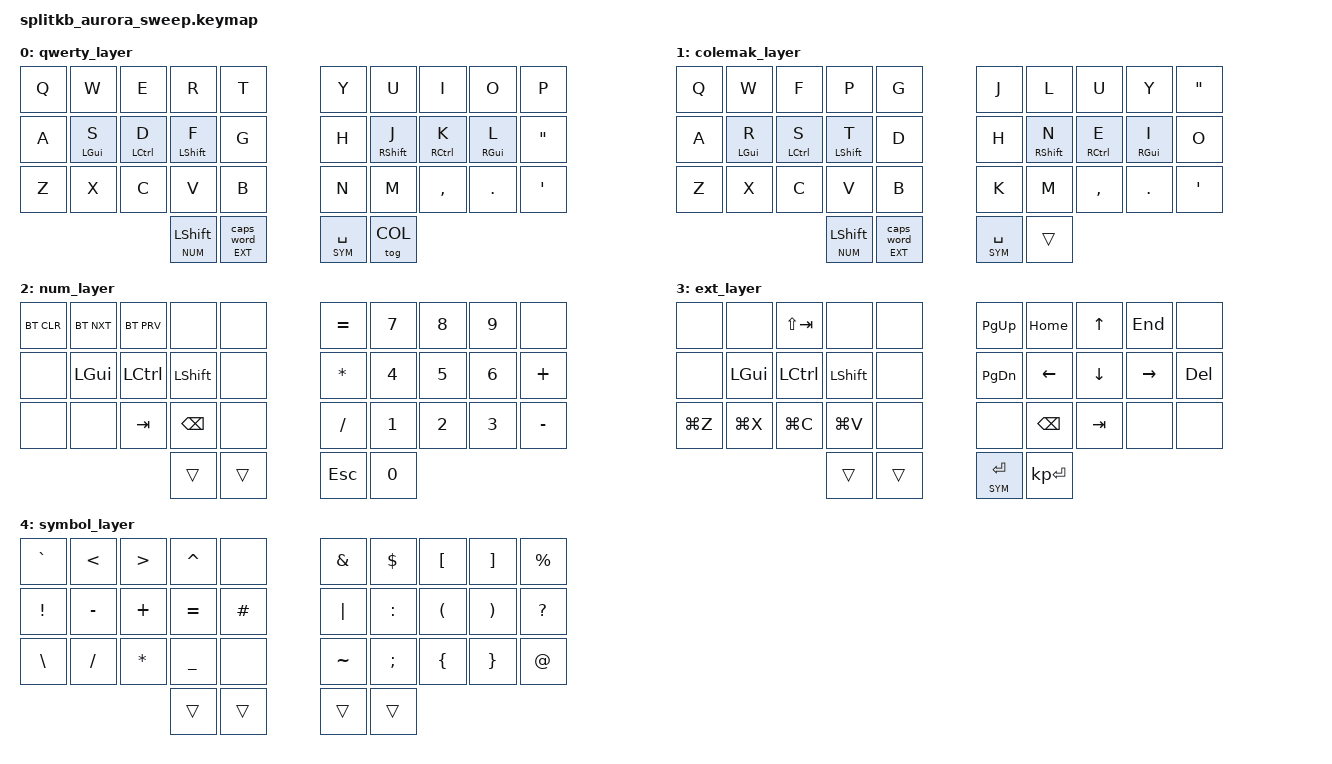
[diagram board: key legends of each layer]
/*
 * Copyright (c) 2022 The ZMK Contributors
 *
 * SPDX-License-Identifier: MIT
 */

#include <behaviors.dtsi>
#include <dt-bindings/zmk/keys.h>
#include <dt-bindings/zmk/bt.h>

#include "./keypos_34keys.h"
#include "./base.keymap"

#define XXX &none
#define ___ &trans

#define QWERTY 0
// #define HD   1
#define COL  1
#define NUM  2
#define EXT  3
#define SYM  4


#define SHIFTED_BEHAVIOR(name, unshifted, shifted) \
        name: name { \
            compatible = "zmk,behavior-mod-morph"; \
            #binding-cells = <0>; \
            label = #name; \
            bindings = <&kp unshifted>, <&kp shifted>; \
            mods = <(MOD_LSFT|MOD_RSFT)>; \
        };

#define HOME_ROW_MOD(name, trigger_key_positions) \
        name: name { \
            compatible = "zmk,behavior-hold-tap"; \
            #binding-cells = <2>; \
            flavor = "balanced"; \
            tapping-term-ms = <280>; \
            require-prior-idle-ms = <50>; \
            bindings = <&kp>, <&kp>; \
            hold-trigger-on-release; \
            hold-trigger-key-positions = <trigger_key_positions>; \
        };

/ {

    behaviors {
        SHIFTED_BEHAVIOR(hashAt,    HASH,  AT)
        SHIFTED_BEHAVIOR(dotCol,    DOT,   COLON)
        SHIFTED_BEHAVIOR(slashStar, SLASH, STAR)
        SHIFTED_BEHAVIOR(dquotBang, DQT,   EXCL)
        SHIFTED_BEHAVIOR(squotHuh,  SQT,   QMARK)
        SHIFTED_BEHAVIOR(cmmaSemi,  CMMA,  SEMI)
        SHIFTED_BEHAVIOR(minPlus,   MINUS, PLUS)

        HOME_ROW_MOD(hml, KEYS_R THUMBS)
        HOME_ROW_MOD(hmr, KEYS_L THUMBS)

        lt_cw: layer_tap_caps_word {
            compatible = "zmk,behavior-hold-tap";
            #binding-cells = <2>;
            label = "LAYER_TAP_CAPS_WORD";
            bindings = <&mo>, <&caps_word>;
            flavor = "balanced";
            tapping-term-ms = <200>;
            require-prior-idle-ms = <50>;
        };

        lt_sk: layer_tap_sticky_key {
            compatible = "zmk,behavior-hold-tap";
            #binding-cells = <2>;
            label = "LAYER_TAP_STICKY_KEY";
            bindings = <&mo>, <&sk>;
            flavor = "balanced";
            tapping-term-ms = <200>;
            require-prior-idle-ms = <50>;
        };
    };

    combos {
        compatible = "zmk,combos";
        combo_z {
            timeout-ms = <50>;
            key-positions = <LT4 LT3>;
            bindings = <&kp Z>;
        };

        combo_q {
            timeout-ms = <50>;
            key-positions = <LT4 LT2>;
            bindings = <&kp Q>;
        };

        combo_bootloader_left {
            timeout-ms = <50>;
            key-positions = <LT3 LM3 LB3>;
            bindings = <&bootloader>;
        };

        combo_bootloader_right {
            timeout-ms = <50>;
            key-positions = <RT3 RM3 RB3>;
            bindings = <&bootloader>;
        };

        combo_reset_left {
            timeout-ms = <50>;
            key-positions = <LT4 LM4 LB4>;
            bindings = <&sys_reset>;
        };

        combo_reset_right {
            timeout-ms = <50>;
            key-positions = <RT4 RM4 RB4>;
            bindings = <&sys_reset>;
        };
    };

    keymap {
        compatible = "zmk,keymap";

        qwerty_layer {
        bindings = <
        //╭──────────┬──────────┬──────────┬──────────┬──────────╮   ╭──────────┬──────────┬──────────┬──────────┬──────────╮
             &kp Q      &kp W      &kp E      &kp R      &kp T          &kp Y      &kp U      &kp I      &kp O      &kp P
        //├──────────┼──────────┼──────────┼──────────┼──────────┤   ├──────────┼──────────┼──────────┼──────────┼──────────┤
             &kp A   &hml LGUI S &hml LCTRL D &hml LSHIFT F &kp G     &kp H   &hmr RSHIFT J &hmr RCTRL K &hmr RGUI L  &kp DQT
        //├──────────┼──────────┼──────────┼──────────┼──────────┤   ├──────────┼──────────┼──────────┼──────────┼──────────┤
             &kp Z      &kp X      &kp C      &kp V      &kp B          &kp N      &kp M     &kp CMMA   &kp DOT    &kp SQT
        //╰──────────┴──────────┴──────────┼──────────┼──────────┤   ├──────────┼──────────┼──────────┴──────────┴──────────╯
                                      &lt_sk NUM LSHIFT &lt_cw EXT 0  &lt SYM SPC  &tog COL
        //                                 ╰──────────┴──────────╯   ╰──────────┴──────────╯
        >;
        };

        colemak_layer {
        bindings = <
        //╭──────────┬──────────┬──────────┬──────────┬──────────╮   ╭──────────┬──────────┬──────────┬──────────┬──────────╮
             &kp Q      &kp W      &kp F      &kp P      &kp G          &kp J      &kp L      &kp U      &kp Y     &kp DQT
        //├──────────┼──────────┼──────────┼──────────┼──────────┤   ├──────────┼──────────┼──────────┼──────────┼──────────┤
             &kp A   &hml LGUI R &hml LCTRL S &hml LSHIFT T &kp D      &kp H  &hmr RSHIFT N &hmr RCTRL E &hmr RGUI I &kp O
        //├──────────┼──────────┼──────────┼──────────┼──────────┤   ├──────────┼──────────┼──────────┼──────────┼──────────┤
             &kp Z      &kp X      &kp C      &kp V      &kp B          &kp K      &kp M     &kp CMMA   &kp DOT    &kp SQT
        //╰──────────┴──────────┴──────────┼──────────┼──────────┤   ├──────────┼──────────┼──────────┴──────────┴──────────╯
                                  &lt_sk NUM LSHIFT   &lt_cw EXT 0   &lt SYM SPC    ___
        //                                 ╰──────────┴──────────╯   ╰──────────┴──────────╯
        >;
        };

        // hands_down_layer {
        // bindings = <
        // //╭──────────┬──────────┬──────────┬──────────┬──────────╮   ╭──────────┬──────────┬──────────┬──────────┬──────────╮
        //      &kp X      &kp W      &kp M      &kp G      &kp J         &hashAt    &dotCol   &slashStar &dquotBang  &squotHuh
        // //├──────────┼──────────┼──────────┼──────────┼──────────┤   ├──────────┼──────────┼──────────┼──────────┼──────────┤
        //      &kp S   &hml LGUI C &hml LCTRL N &hml LSHIFT T &kp K     &cmmaSemi &hmr RSHIFT A &hmr RCTRL E &hmr RGUI I &kp H
        // //├──────────┼──────────┼──────────┼──────────┼──────────┤   ├──────────┼──────────┼──────────┼──────────┼──────────┤
        //      &kp B      &kp P      &kp L      &kp D      &kp V         &minPlus    &kp U       &kp O     &kp Y      &kp F
        // //╰──────────┴──────────┴──────────┼──────────┼──────────┤   ├──────────┼──────────┼──────────┴──────────┴──────────╯
        //                                &lt_sk NUM LSHIFT &lt EXT R     &lt SYM SPC   ___
        // //                                 ╰──────────┴──────────╯   ╰──────────┴──────────╯
        // >;
        // };

        num_layer {
        bindings = <
        //╭──────────┬──────────┬──────────┬──────────┬──────────╮   ╭──────────┬──────────┬──────────┬──────────┬──────────╮
           &bt BT_CLR &bt BT_NXT &bt BT_PRV    XXX        XXX          &kp EQUAL   &kp N7     &kp N8     &kp N9      XXX
        //├──────────┼──────────┼──────────┼──────────┼──────────┤   ├──────────┼──────────┼──────────┼──────────┼──────────┤
              XXX      &kp LGUI   &kp LCTRL  &kp LSHFT    XXX          &kp STAR    &kp N4     &kp N5     &kp N6    &kp PLUS
        //├──────────┼──────────┼──────────┼──────────┼──────────┤   ├──────────┼──────────┼──────────┼──────────┼──────────┤
              XXX        XXX      &kp TAB    &kp BSPC     XXX          &kp FSLH    &kp N1     &kp N2     &kp N3    &kp MINUS
        //╰──────────┴──────────┴──────────┼──────────┼──────────┤   ├──────────┼──────────┼──────────┴──────────┴──────────╯
                                             ___        ___             &kp ESC    &kp N0
        //                                 ╰──────────┴──────────╯   ╰──────────┴──────────╯
        >;
        };

        ext_layer {
        bindings = <
        //╭──────────┬──────────┬──────────┬──────────┬──────────╮   ╭──────────┬──────────┬──────────┬──────────┬──────────╮
               XXX        XXX    &kp LS(TAB)   XXX        XXX          &kp PG_UP  &kp HOME    &kp UP    &kp END      XXX
        //├──────────┼──────────┼──────────┼──────────┼──────────┤   ├──────────┼──────────┼──────────┼──────────┼──────────┤
              XXX      &kp LGUI   &kp LCTRL  &kp LSHFT    XXX          &kp PG_DN  &kp LEFT   &kp DOWN   &kp RIGHT  &kp DEL
        //├──────────┼──────────┼──────────┼──────────┼──────────┤   ├──────────┼──────────┼──────────┼──────────┼──────────┤
            &kp LG(Z)  &kp LG(X)  &kp LG(C)  &kp LG(V)    XXX            XXX      &kp BSPC   &kp TAB      XXX        XXX
        //╰──────────┴──────────┴──────────┼──────────┼──────────┤   ├──────────┼──────────┼──────────┴──────────┴──────────╯
                                               ___        ___        &lt SYM RET &kp KP_ENTER
        //                                 ╰──────────┴──────────╯   ╰──────────┴──────────╯
        >;
        };

        symbol_layer {
        bindings = <
        //╭──────────┬──────────┬──────────┬──────────┬──────────╮   ╭──────────┬──────────┬──────────┬──────────┬──────────╮
            &kp GRAVE   &kp LT     &kp GT    &kp CARET    XXX          &kp AMPS   &kp DLLR   &kp LBKT   &kp RBKT   &kp PRCNT
        //├──────────┼──────────┼──────────┼──────────┼──────────┤   ├──────────┼──────────┼──────────┼──────────┼──────────┤
            &kp EXCL  &kp MINUS   &kp PLUS   &kp EQUAL  &kp HASH       &kp PIPE   &kp COLON  &kp LPAR   &kp RPAR   &kp QMARK
        //├──────────┼──────────┼──────────┼──────────┼──────────┤   ├──────────┼──────────┼──────────┼──────────┼──────────┤
            &kp BSLH   &kp FSLH   &kp STAR   &kp UNDER    XXX          &kp TILDE  &kp SEMI   &kp LBRC   &kp RBRC    &kp AT
        //╰──────────┴──────────┴──────────┼──────────┼──────────┤   ├──────────┼──────────┼──────────┴──────────┴──────────╯
                                                ___        ___            ___        ___
        //                                 ╰──────────┴──────────╯   ╰──────────┴──────────╯
        >;
        };
    };
};
